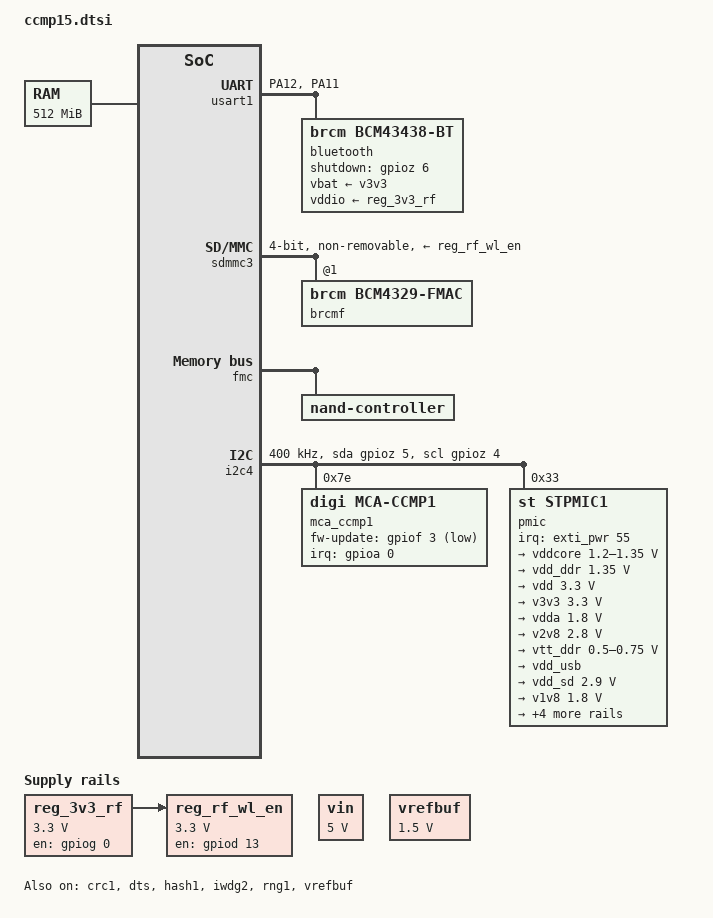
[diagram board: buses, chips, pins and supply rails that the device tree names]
/*
 * Copyright 2022 Digi International, Inc.
 *
 * The code contained herein is licensed under the GNU General Public
 * License. You may obtain a copy of the GNU General Public License
 * Version 2 or later at the following locations:
 *
 * http://www.opensource.org/licenses/gpl-license.html
 * http://www.gnu.org/copyleft/gpl.html
 */

//#include "stm32mp15-m4-srm.dtsi"
//#include "stm32mp15-m4-srm-pinctrl.dtsi"
#include <dt-bindings/gpio/gpio.h>
#include <dt-bindings/mfd/st,stpmic1.h>

/ {
	aliases {
		ethernet0 = &ethernet0;
		i2c1 = &i2c1;
		i2c2 = &i2c2;
		i2c3 = &i2c3;
		i2c4 = &i2c4;
		i2c5 = &i2c5;
		i2c6 = &i2c6;
		mmc0 = &sdmmc3; /* Wireless */
		serial0 = &uart4;
		serial1 = &usart1;
		serial2 = &usart3;
	};

	memory@c0000000 {
		device_type = "memory";
		reg = <0xc0000000 0x20000000>;
	};

	reserved-memory {
		#address-cells = <1>;
		#size-cells = <1>;
		ranges;

		mcuram2: mcuram2@10000000 {
			compatible = "shared-dma-pool";
			reg = <0x10000000 0x40000>;
			no-map;
		};

		vdev0vring0: vdev0vring0@10040000 {
			compatible = "shared-dma-pool";
			reg = <0x10040000 0x1000>;
			no-map;
		};

		vdev0vring1: vdev0vring1@10041000 {
			compatible = "shared-dma-pool";
			reg = <0x10041000 0x1000>;
			no-map;
		};

		vdev0buffer: vdev0buffer@10042000 {
			compatible = "shared-dma-pool";
			reg = <0x10042000 0x4000>;
			no-map;
		};

		mcu_rsc_table: mcu_rsc_table@10048000 {
			compatible = "shared-dma-pool";
			reg = <0x10048000 0x8000>;
			no-map;
		};

		mcuram: mcuram@30000000 {
			compatible = "shared-dma-pool";
			reg = <0x30000000 0x40000>;
			no-map;
		};

		retram: retram@38000000 {
			compatible = "shared-dma-pool";
			reg = <0x38000000 0x10000>;
			no-map;
		};

		gpu_reserved: gpu@d4000000 {
			reg = <0xd4000000 0x4000000>;
			no-map;
		};
	};

	/* Wifi/Bluetooth regulators, disabled by default */
	regulators {
		compatible = "simple-bus";
		#address-cells = <1>;
		#size-cells = <0>;

		reg_3v3_rf: regulator-som@1 {
			compatible = "regulator-fixed";
			reg = <1>;
			regulator-name = "3v3_rf";
			regulator-min-microvolt = <3300000>;
			regulator-max-microvolt = <3300000>;
			gpio = <&gpiog 0 GPIO_ACTIVE_HIGH>; /* 3V3_RF_EN */
			enable-active-high;
			startup-delay-us = <100000>;
			status = "okay";
		};

		reg_rf_wl_en: regulator-som@2 {
			compatible = "regulator-fixed";
			reg = <2>;
			regulator-name = "rf_wl_en";
			regulator-min-microvolt = <3300000>;
			regulator-max-microvolt = <3300000>;
			gpio = <&gpiod 13 GPIO_ACTIVE_HIGH>; /* WL_EN */
			enable-active-high;
			startup-delay-us = <100>;
			vin-supply = <&reg_3v3_rf>;
			status = "okay";
		};
	};

	vin: vin {
		compatible = "regulator-fixed";
		regulator-name = "vin";
		regulator-min-microvolt = <5000000>;
		regulator-max-microvolt = <5000000>;
		regulator-always-on;
	};

	wireless {
		/* U-Boot will fill in the MAC address here */
		status = "okay";
	};
};

&cpu0{
        cpu-supply = <&vddcore>;
};

&sram {
        dma_pool: dma_pool@0 {
                reg = <0x50000 0x10000>;
                pool;
        };
};

&crc1 {
        status = "okay";
};

&dma1 {
        sram = <&dma_pool>;
};

&dma2 {
        sram = <&dma_pool>;
};

&dts {
        status = "okay";
};

&hash1 {
        status = "okay";
};

&cpu0_opp_table {
                opp-650000000 {
                        opp-hz = /bits/ 64 <650000000>;
                        opp-microvolt = <1200000>;
                        opp-supported-hw = <0x1>;
                };
};

&ipcc {
        status = "okay";
};

&iwdg2 {
        timeout-sec = <32>;
        status = "okay";
};

&rng1 {
        status = "okay";
};

&rtc {
	status = "disabled";
};

/* USART1 (Bluetooth) */
&usart1 {
	pinctrl-names = "default", "sleep";
	pinctrl-0 = <&ccmp15_usart1_pins_c>, <&ccmp15_usart1_pins_z>;
	pinctrl-1 = <&ccmp15_usart1_sleep_pins_c>, <&ccmp15_usart1_sleep_pins_z>;
	uart-has-rtscts;
	status = "okay";

	bluetooth {
		shutdown-gpios = <&gpioz 6 GPIO_ACTIVE_HIGH>;
		compatible = "brcm,bcm43438-bt";
		max-speed = <3000000>;
		vbat-supply = <&v3v3>;
		vddio-supply = <&reg_3v3_rf>;
	};
};

/* USDHC3 (Wireless) */
&sdmmc3 {
	pinctrl-names = "default", "opendrain", "sleep";
	pinctrl-0 = <&sdmmc3_b4_pins_a>;
	pinctrl-1 = <&sdmmc3_b4_od_pins_a>;
	pinctrl-2 = <&sdmmc3_b4_sleep_pins_a>;
	non-removable;
	no-1-8-v;
	st,neg-edge;
	bus-width = <4>;
	vmmc-supply = <&reg_rf_wl_en>;
	status = "okay";

	#address-cells = <1>;
	#size-cells = <0>;
	brcmf: bcrmf@1 {
		reg = <1>;
		compatible = "brcm,bcm4329-fmac";

		brcm,broken_sg_support;
		brcm,sd_head_align = /bits/  16 <8>;
		brcm,sd_sgentry_align = /bits/ 16 <32>;
	};
};

/*&m4_rproc {
        memory-region = <&retram>, <&mcuram>, <&mcuram2>, <&vdev0vring0>,
                        <&vdev0vring1>, <&vdev0buffer>, <&mcu_rsc_table>;
        mboxes = <&ipcc 0>, <&ipcc 1>, <&ipcc 2>;
        mbox-names = "vq0", "vq1", "shutdown";
        interrupt-parent = <&exti>;
        interrupts = <68 1>;
        wakeup-source;
        status = "okay";
};*/

&vrefbuf {
        regulator-min-microvolt = <1500000>;
        regulator-max-microvolt = <1500000>;
        vdda-supply = <&vdd>;
        status = "okay";
};

&fmc {
        pinctrl-names = "default", "sleep";
        pinctrl-0 = <&fmc_pins_a>;
        pinctrl-1 = <&fmc_sleep_pins_a>;
        status = "okay";

        nand-controller@4,0 {
                status = "okay";

                nand@0 {
                        reg = <0>;
                        nand-on-flash-bbt;
                        #address-cells = <1>;
                        #size-cells = <1>;
                };
        };
};

&i2c4 {
	clock-frequency = <400000>;
	pinctrl-names = "default", "sleep";
	pinctrl-0 = <&i2c4_pins_a>;
	pinctrl-1 = <&i2c4_sleep_pins_a>;
	i2c-scl-rising-time-ns = <185>;
	i2c-scl-falling-time-ns = <20>;
	scl-gpios = <&gpioz 4 GPIO_ACTIVE_HIGH>;
	sda-gpios = <&gpioz 5 GPIO_ACTIVE_HIGH>;
	status = "okay";
	/* spare dmas for other usage */
	/delete-property/dmas;
	/delete-property/dma-names;

	mca_ccmp1: mca@7e {
		compatible = "digi,mca-ccmp1";
		reg = <0x7e>;
		interrupt-parent = <&gpioa>;
		interrupts = <0 IRQ_TYPE_EDGE_FALLING>;
		interrupt-controller;
		#interrupt-cells = <2>;
		fw-update-gpio = <&gpiof 3 GPIO_ACTIVE_LOW>;

		mca_gpio: gpio {
			compatible = "digi,mca-ccmp1-gpio";
			gpio-controller;
			#gpio-cells = <2>;

			interrupt-parent = <&mca_ccmp1>;
			interrupt-controller;
			#interrupt-cells = <2>;

			/* Disable all mca GPIOs as power off wake up sourcesc
			pwroff-wakeup-capable-ios = <>;*/
		};

		rtc {
			compatible = "digi,mca-ccmp1-rtc";
		};

		watchdog {
			compatible = "digi,mca-ccmp1-wdt";
			digi,full-reset;
		};

		pwrkey {
			compatible = "digi,mca-ccmp1-pwrkey";
			digi,key-power;
			digi,key-power-up;
			digi,key-sleep;
			digi,debounce-ms = <100>;
			digi,pwroff-delay-sec = <6>;
			digi,pwroff-guard-sec = <30>;
		};

		mca_adc: adc {
			compatible = "digi,mca-ccmp1-adc";
			digi,adc-vref = <3000000>;
		};

		mca_tamper: tamper {
			compatible = "digi,mca-ccmp1-tamper";
		};

		mca_uart: uart {
			compatible = "digi,mca-ccmp1-uart";
			status = "disabled";
			#address-cells = <1>;
			#size-cells = <0>;

			mca_uart0: serial@0x900 {
				reg = <0x900>;
				index = <0>;
			};
		};
	};

	pmic: stpmic@33 {
		compatible = "st,stpmic1";
		reg = <0x33>;
		interrupts-extended = <&exti_pwr 55 IRQ_TYPE_EDGE_FALLING>;
		interrupt-controller;
		#interrupt-cells = <2>;
		status = "okay";

		regulators {
			compatible = "st,stpmic1-regulators";
			buck1-supply = <&vin>;
			buck2-supply = <&vin>;
			buck3-supply = <&vin>;
			buck4-supply = <&vin>;
			ldo1-supply = <&v3v3>;
			ldo2-supply = <&vin>;
			ldo3-supply = <&vdd_ddr>;
			ldo4-supply = <&vin>;
			ldo5-supply = <&vin>;
			ldo6-supply = <&v3v3>;
			vref_ddr-supply = <&vin>;
			boost-supply = <&vin>;
			pwr_sw1-supply = <&bst_out>;
			pwr_sw2-supply = <&bst_out>;

			vddcore: buck1 {
				regulator-name = "vddcore";
				regulator-min-microvolt = <1200000>;
				regulator-max-microvolt = <1350000>;
				regulator-always-on;
				regulator-initial-mode = <0>;
				regulator-over-current-protection;
			};

			vdd_ddr: buck2 {
				regulator-name = "vdd_ddr";
				regulator-min-microvolt = <1350000>;
				regulator-max-microvolt = <1350000>;
				regulator-always-on;
				regulator-initial-mode = <0>;
				regulator-over-current-protection;
			};

			vdd: buck3 {
				regulator-name = "vdd";
				regulator-min-microvolt = <3300000>;
				regulator-max-microvolt = <3300000>;
				regulator-always-on;
				st,mask-reset;
				regulator-initial-mode = <0>;
				regulator-over-current-protection;
			};

			v3v3: buck4 {
				regulator-name = "v3v3";
				regulator-min-microvolt = <3300000>;
				regulator-max-microvolt = <3300000>;
				regulator-always-on;
				regulator-over-current-protection;
				regulator-initial-mode = <0>;
			};

			vdda: ldo1 {
				regulator-name = "vdda";
				regulator-min-microvolt = <1800000>;
				regulator-max-microvolt = <1800000>;
				regulator-always-on;
				interrupts = <IT_CURLIM_LDO1 0>;
			};

			v2v8: ldo2 {
				regulator-name = "v2v8";
				regulator-min-microvolt = <2800000>;
				regulator-max-microvolt = <2800000>;
				regulator-always-on;
				interrupts = <IT_CURLIM_LDO2 0>;
			};

			vtt_ddr: ldo3 {
				regulator-name = "vtt_ddr";
				regulator-min-microvolt = <500000>;
				regulator-max-microvolt = <750000>;
				regulator-always-on;
				regulator-over-current-protection;
			};

			vdd_usb: ldo4 {
				regulator-name = "vdd_usb";
				interrupts = <IT_CURLIM_LDO4 0>;
			};

			vdd_sd: ldo5 {
				regulator-name = "vdd_sd";
				regulator-min-microvolt = <2900000>;
				regulator-max-microvolt = <2900000>;
				interrupts = <IT_CURLIM_LDO5 0>;
				regulator-boot-on;
			};

			v1v8: ldo6 {
				regulator-name = "v1v8";
				regulator-min-microvolt = <1800000>;
				regulator-max-microvolt = <1800000>;
				regulator-always-on;
				interrupts = <IT_CURLIM_LDO6 0>;
			};

			vref_ddr: vref_ddr {
				regulator-name = "vref_ddr";
				regulator-always-on;
				regulator-over-current-protection;
			};

			bst_out: boost {
				regulator-name = "bst_out";
				interrupts = <IT_OCP_BOOST 0>;
			};

			vbus_otg: pwr_sw1 {
				regulator-name = "vbus_otg";
				interrupts = <IT_OCP_OTG 0>;
			};

			vbus_sw: pwr_sw2 {
				regulator-name = "vbus_sw";
				interrupts = <IT_OCP_SWOUT 0>;
				regulator-active-discharge = <1>;
			};
		};

		onkey {
			compatible = "st,stpmic1-onkey";
			interrupts = <IT_PONKEY_F 0>, <IT_PONKEY_R 0>;
			interrupt-names = "onkey-falling", "onkey-rising";
			power-off-time-sec = <10>;
			status = "okay";
		};

		watchdog {
			compatible = "st,stpmic1-wdt";
			status = "disabled";
		};
	};
};

&pinctrl {
	ccmp15_usart1_pins_c: usart1-2 {
		pins1 {
			pinmux = <STM32_PINMUX('A', 12, AF7)>; /* USART1_RTS */
			bias-disable;
			drive-push-pull;
			slew-rate = <0>;
		};
		pins2 {
			pinmux = <STM32_PINMUX('A', 11, AF7)>; /* USART1_CTS_NSS */
			bias-pull-up;
		};
	};

	ccmp15_usart1_sleep_pins_c: usart1-sleep-2 {
		pins {
			pinmux = <STM32_PINMUX('A', 12, ANALOG)>, /* USART1_RTS */
				 <STM32_PINMUX('A', 11, ANALOG)>; /* USART1_CTS_NSS */
		};
	};
};

&pinctrl_z {
	ccmp15_usart1_pins_z: usart1-2 {
		pins1 {
			pinmux = <STM32_PINMUX('Z', 7, AF7)>; /* USART1_TX */
			bias-disable;
			drive-push-pull;
			slew-rate = <0>;
		};
		pins2 {
			pinmux = <STM32_PINMUX('Z', 1, AF7)>; /* USART1_RX */
			bias-pull-up;
		};
	};

	ccmp15_usart1_sleep_pins_z: usart1-sleep-2 {
		pins {
			pinmux = <STM32_PINMUX('Z', 7, ANALOG)>, /* USART1_TX */
				 <STM32_PINMUX('Z', 1, ANALOG)>; /* USART1_RX */
		};
	};
};
